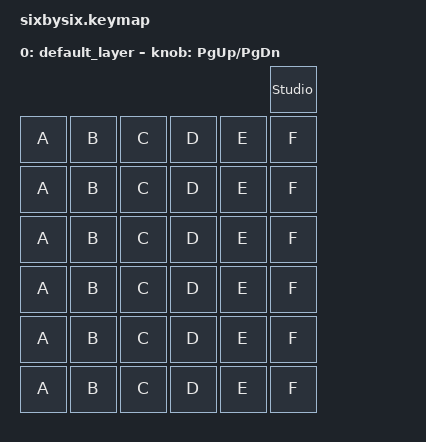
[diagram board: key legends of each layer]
/*
 * Copyright (c) 2020 The ZMK Contributors
 *
 * SPDX-License-Identifier: MIT
 */

#include <behaviors.dtsi>
#include <dt-bindings/zmk/keys.h>

/ {
    keymap {
        compatible = "zmk,keymap";

        default_layer {
            bindings = <
                                                &studio_unlock 
                &kp A  &kp B &kp C &kp D  &kp E &kp F
                &kp A  &kp B &kp C &kp D  &kp E &kp F
                &kp A  &kp B &kp C &kp D  &kp E &kp F
                &kp A  &kp B &kp C &kp D  &kp E &kp F
                &kp A  &kp B &kp C &kp D  &kp E &kp F
                &kp A  &kp B &kp C &kp D  &kp E &kp F
            >;
            sensor-bindings = <&inc_dec_kp PG_UP PG_DN>;
        };
    };
};

